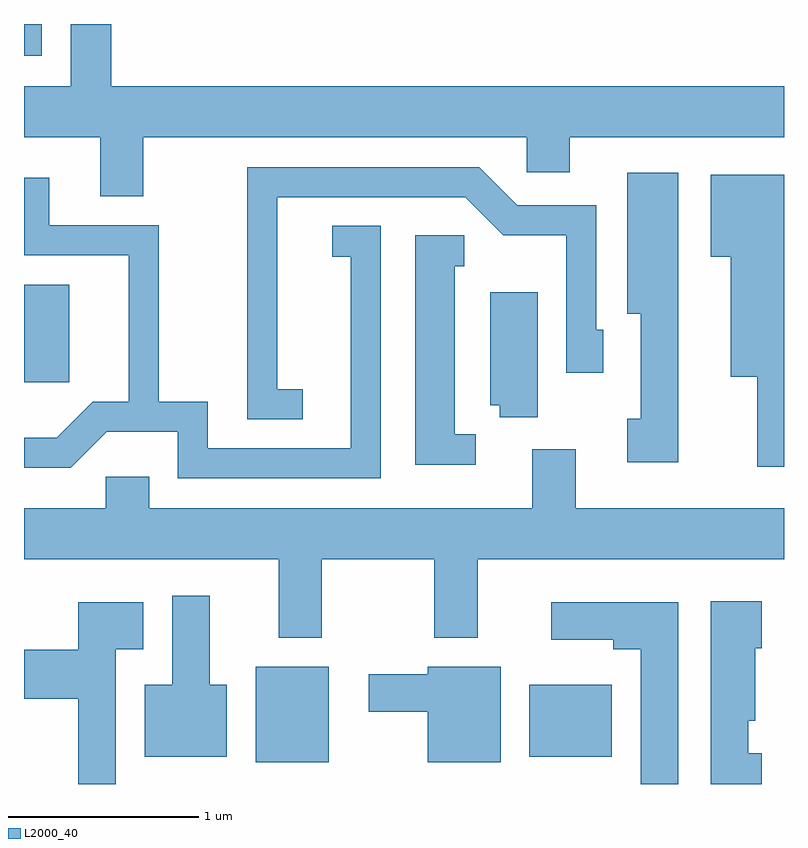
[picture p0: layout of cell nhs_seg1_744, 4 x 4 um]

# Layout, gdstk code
import gdstk
lib = gdstk.Library(unit=1e-6, precision=1e-09)
def R(c, l, rs):  # rectangles x0, y0, x1, y1
    for r in rs: c.add(gdstk.rectangle(r[:2], r[2:], *l))
def P(c, l, *ps):  # polygons
    for p in ps: c.add(gdstk.Polygon(p, *l))
L2000_40 = (2000, 40)

nhs_seg1_744 = lib.new_cell('nhs_seg1_744')
R(nhs_seg1_744, L2000_40, [(208.831,911.826,209.214,912.329), (210.271,911.856,210.704,912.234), (207.611,913.826,207.849,914.339), (207.611,915.546,207.704,915.712)])
P(nhs_seg1_744, L2000_40, [(208.239,915.116),(210.256,915.116),(210.256,914.931),(210.484,914.931),(210.484,915.116),(211.611,915.116),(211.611,915.384),(208.069,915.384),(208.069,915.712),(207.856,915.712),(207.856,915.384),(207.611,915.384),(207.611,915.116),(208.011,915.116),(208.011,914.806),(208.239,914.806)],
  [(209.078,913.789),(208.944,913.789),(208.944,914.801),(209.934,914.801),(210.134,914.601),(210.466,914.601),(210.466,913.876),(210.659,913.876),(210.659,914.104),(210.624,914.104),(210.624,914.759),(210.207,914.759),(210.007,914.959),(208.786,914.959),(208.786,913.631),(209.078,913.631)],
  [(211.054,914.929),(210.786,914.929),(210.786,914.186),(210.856,914.186),(210.856,913.634),(210.786,913.634),(210.786,913.406),(211.054,913.406)],
  [(211.611,914.919),(211.226,914.919),(211.226,914.486),(211.331,914.486),(211.331,913.856),(211.471,913.856),(211.471,913.383),(211.611,913.383)],
  [(209.489,914.649),(209.233,914.649),(209.233,914.486),(209.331,914.486),(209.331,913.479),(208.579,913.479),(208.579,913.724),(208.319,913.724),(208.319,914.654),(207.744,914.654),(207.744,914.903),(207.611,914.903),(207.611,914.496),(208.161,914.496),(208.161,913.724),(207.974,913.724),(207.784,913.534),(207.611,913.534),(207.611,913.376),(207.857,913.376),(208.047,913.566),(208.421,913.566),(208.421,913.321),(209.489,913.321)],
  [(209.988,913.554),(209.879,913.554),(209.879,914.436),(209.928,914.436),(209.928,914.599),(209.671,914.599),(209.671,913.391),(209.988,913.391)],
  [(210.314,914.299),(210.066,914.299),(210.066,913.706),(210.116,913.706),(210.116,913.641),(210.314,913.641)],
  [(209.179,912.896),(209.771,912.896),(209.771,912.481),(209.999,912.481),(209.999,912.896),(211.611,912.896),(211.611,913.164),(210.514,913.164),(210.514,913.474),(210.286,913.474),(210.286,913.164),(208.269,913.164),(208.269,913.329),(208.041,913.329),(208.041,913.164),(207.611,913.164),(207.611,912.896),(208.951,912.896),(208.951,912.481),(209.179,912.481)],
  [(208.679,912.234),(208.589,912.234),(208.589,912.704),(208.391,912.704),(208.391,912.234),(208.246,912.234),(208.246,911.856),(208.679,911.856)],
  [(211.494,911.874),(211.424,911.874),(211.424,912.046),(211.459,912.046),(211.459,912.426),(211.494,912.426),(211.494,912.674),(211.226,912.674),(211.226,911.712),(211.494,911.712)],
  [(208.094,912.421),(208.239,912.421),(208.239,912.669),(207.896,912.669),(207.896,912.419),(207.611,912.419),(207.611,912.161),(207.896,912.161),(207.896,911.712),(208.094,911.712)],
  [(211.054,912.669),(210.386,912.669),(210.386,912.471),(210.711,912.471),(210.711,912.421),(210.856,912.421),(210.856,911.712),(211.054,911.712)],
  [(210.119,912.329),(209.736,912.329),(209.736,912.289),(209.426,912.289),(209.426,912.091),(209.736,912.091),(209.736,911.826),(210.119,911.826)])

lib.write_gds('nhs_seg1_744.gds')
